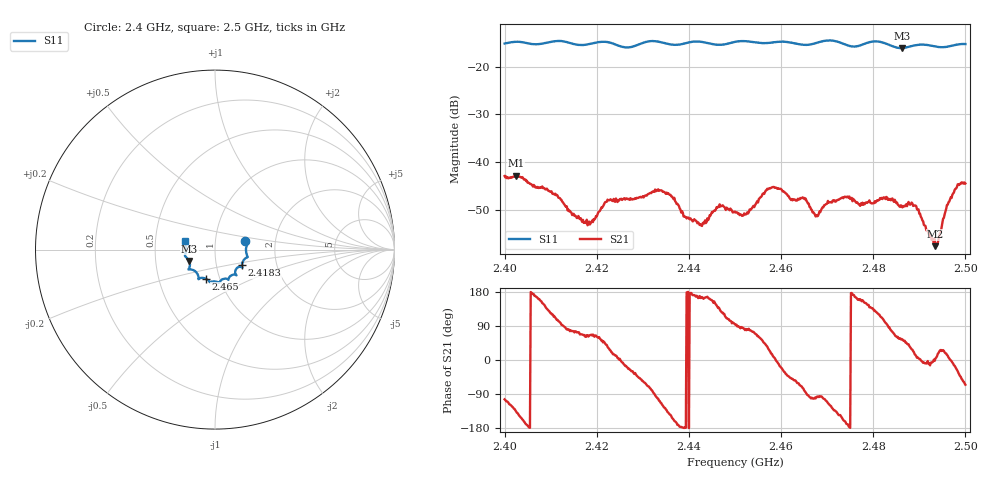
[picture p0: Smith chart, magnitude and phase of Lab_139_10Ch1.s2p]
# Hz S RI R 50
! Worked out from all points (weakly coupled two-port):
!   601 points, 2.4 GHz to 2.5 GHz, reference 50 ohm
!   highest |S21| = -42.81 dB at 2.4025 GHz (marker M1); lowest = -57.6 dB at 2.4935 GHz (marker M2)
!   lowest |S11| = -16.1 dB at 2.4862 GHz (marker M3), VSWR 1.37, Z = 37.2 - j4.82 ohm
!   |S11| at or under -10 dB: start of sweep to end of sweep
!   S12 and S22 are empty: the file has one direction only
!   S11 on the Smith chart (normalised r, x): 2.4 GHz: 1.40, +0.13; 2.4183 GHz: 1.33, -0.24; 2.465 GHz: 0.86, -0.29; 2.5 GHz: 0.71, +0.07
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2.4e9  0.1694 0.0459  -0.0017 -0.00693  0 0  0 0
2.4025e9  0.1797 0.035  -0.00517 -0.00506  0 0  0 0
2.411e9  0.1817 -0.0389  -0.00172 0.00433  0 0  0 0
2.416667e9  0.155 -0.068  0.000941 0.00229  0 0  0 0
2.418333e9  0.1499 -0.0871  0.00105 0.00213  0 0  0 0
2.4225e9  0.1517 -0.0987  0.00338 0.00209  0 0  0 0
2.433333e9  0.1177 -0.1412  -0.00108 -0.00507  0 0  0 0
2.442333e9  0.0738 -0.1682  -0.00215 0.000425  0 0  0 0
2.446833e9  0.0455 -0.164  -0.0022 0.00262  0 0  0 0
2.45e9  0.0255 -0.181  -0.000233 0.00303  0 0  0 0
2.4525e9  0.0204 -0.1844  0.000559 0.00282  0 0  0 0
2.458e9  -0.0179 -0.1785  0.00522 0.00151  0 0  0 0
2.465e9  -0.0525 -0.1618  0.000723 -0.00415  0 0  0 0
2.466667e9  -0.0713 -0.1573  -0.000516 -0.00312  0 0  0 0
2.467833e9  -0.0826 -0.1589  -0.000306 -0.00269  0 0  0 0
2.473833e9  -0.0939 -0.1442  -0.00412 -0.00138  0 0  0 0
2.483333e9  -0.1412 -0.0962  0.000278 0.00411  0 0  0 0
2.486167e9  -0.1439 -0.0633  0.00198 0.00286  0 0  0 0
2.489333e9  -0.1643 -0.0396  0.0034 0.000597  0 0  0 0
2.4935e9  -0.1625 -0.0147  0.00131 8.57e-05  0 0  0 0
2.496833e9  -0.1633 0.0261  0.00428 -6.64e-05  0 0  0 0
2.5e9  -0.1669 0.0468  0.0025 -0.00542  0 0  0 0
